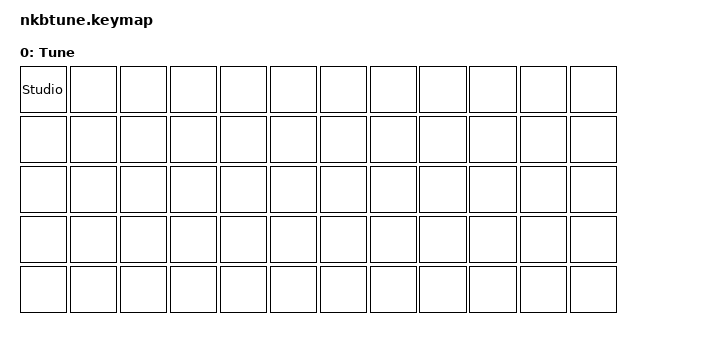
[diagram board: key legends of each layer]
/* SPI/CPI tuning: cursor only. key0 = studio_unlock. */
#include <behaviors.dtsi>
#include <dt-bindings/zmk/keys.h>
/ {
    keymap {
        compatible = "zmk,keymap";
        base {
            display-name = "Tune";
            bindings = <
   &studio_unlock &none &none  &none &none &none   &none &none &none &none &none &none
   &none &none &none &none &none &none   &none &none &none &none &none &none
   &none &none &none &none &none &none   &none &none &none &none &none &none
   &none &none &none &none &none &none   &none &none &none &none &none &none
   &none &none &none &none &none &none   &none &none &none &none &none &none
            >;
        };
    };
};
